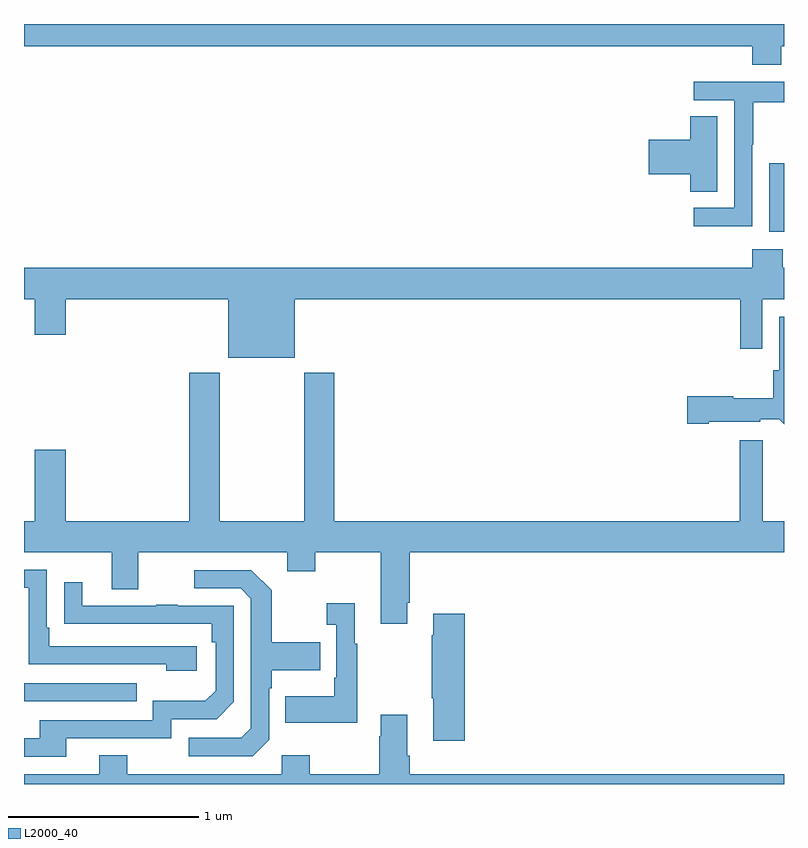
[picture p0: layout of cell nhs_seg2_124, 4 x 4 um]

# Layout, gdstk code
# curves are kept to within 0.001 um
import gdstk
lib = gdstk.Library(unit=1e-6, precision=1e-09)
def R(c, l, rs):  # rectangles x0, y0, x1, y1
    for r in rs: c.add(gdstk.rectangle(r[:2], r[2:], *l))
def P(c, l, *ps):  # polygons
    for p in ps: c.add(gdstk.Polygon(p, *l))
L2000_40 = (2000, 40)

nhs_seg2_124 = lib.new_cell('nhs_seg2_124')
R(nhs_seg2_124, L2000_40, [(117,596.235,117.593,596.331), (120.923,598.706,121,599.067)])
P(nhs_seg2_124, L2000_40, [(120.985,599.684),(121,599.684),(121,599.8),(117,599.8),(117,599.684),(120.833,599.684),(120.833,599.585),(120.985,599.585)],
  [(120.834,599.164),(120.837,599.164),(120.837,599.388),(121,599.388),(121,599.496),(120.525,599.496),(120.525,599.4),(120.738,599.4),(120.738,598.833),(120.525,598.833),(120.525,598.735),(120.834,598.735)],
  [(120.649,599.315),(120.506,599.315),(120.506,599.192),(120.288,599.192),(120.288,599.009),(120.506,599.009),(120.506,598.918),(120.649,598.918)],
  [(118.426,598.352),(120.769,598.352),(120.769,598.092),(120.885,598.092),(120.885,598.352),(121,598.352),(121,598.516),(120.993,598.516),(120.993,598.615),(120.833,598.615),(120.833,598.516),(117,598.516),(117,598.352),(117.056,598.352),(117.056,598.164),(117.22,598.164),(117.22,598.352),(118.076,598.352),(118.076,598.043),(118.426,598.043)],
  [(121,598.258),(120.974,598.258),(120.974,597.978),(120.944,597.978),(120.944,597.829),(120.732,597.829),(120.732,597.842),(120.492,597.842),(120.492,597.695),(120.604,597.695),(120.604,597.707),(120.876,597.707),(120.876,597.719),(120.975,597.719),(121,597.694)],
  [(119.017,596.755),(119.03,596.755),(119.03,597.02),(121,597.02),(121,597.184),(120.889,597.184),(120.889,597.61),(120.767,597.61),(120.767,597.184),(118.634,597.184),(118.634,597.964),(118.474,597.964),(118.474,597.184),(118.029,597.184),(118.029,597.964),(117.869,597.964),(117.869,597.184),(117.22,597.184),(117.22,597.559),(117.056,597.559),(117.056,597.184),(117,597.184),(117,597.02),(117.461,597.02),(117.461,596.826),(117.601,596.826),(117.601,597.02),(118.385,597.02),(118.385,596.921),(118.533,596.921),(118.533,597.02),(118.877,597.02),(118.877,596.643),(119.017,596.643)],
  [(117.91,596.526),(117.133,596.526),(117.133,596.623),(117.12,596.623),(117.12,596.928),(117,596.928),(117,596.832),(117.024,596.832),(117.024,596.43),(117.749,596.43),(117.749,596.396),(117.91,596.396)],
  [(118.29,596.034),(118.29,596.303),(118.303,596.303),(118.303,596.399),(118.559,596.399),(118.559,596.547),(118.303,596.547),(118.303,596.819),(118.197,596.925),(117.897,596.925),(117.897,596.829),(118.14,596.829),(118.194,596.775),(118.194,596.094),(118.143,596.043),(117.867,596.043),(117.867,595.947),(118.203,595.947)],
  [(117.223,596.04),(117.774,596.04),(117.774,596.142),(118.014,596.142),(118.104,596.232),(118.104,596.739),(117.809,596.739),(117.809,596.744),(117.697,596.744),(117.697,596.739),(117.307,596.739),(117.307,596.863),(117.211,596.863),(117.211,596.644),(117.988,596.643),(117.988,596.546),(118.008,596.546),(118.008,596.292),(117.955,596.239),(117.678,596.239),(117.678,596.136),(117.083,596.136),(117.083,596.04),(117,596.04),(117,595.944),(117.223,595.944)],
  [(118.753,596.539),(118.741,596.539),(118.741,596.752),(118.593,596.752),(118.593,596.639),(118.644,596.639),(118.644,596.359),(118.632,596.359),(118.632,596.263),(118.375,596.263),(118.375,596.123),(118.753,596.123)],
  [(119.321,596.695),(119.153,596.695),(119.153,596.582),(119.146,596.582),(119.146,596.251),(119.153,596.251),(119.153,596.028),(119.321,596.028)],
  [(121,595.852),(119.03,595.852),(119.03,595.948),(119.017,595.948),(119.017,596.164),(118.877,596.164),(118.877,596.051),(118.87,596.051),(118.87,595.852),(118.503,595.852),(118.503,595.951),(118.356,595.951),(118.356,595.852),(117.543,595.852),(117.543,595.951),(117.395,595.951),(117.395,595.852),(117,595.852),(117,595.8),(121,595.8)])

lib.write_gds('nhs_seg2_124.gds')
